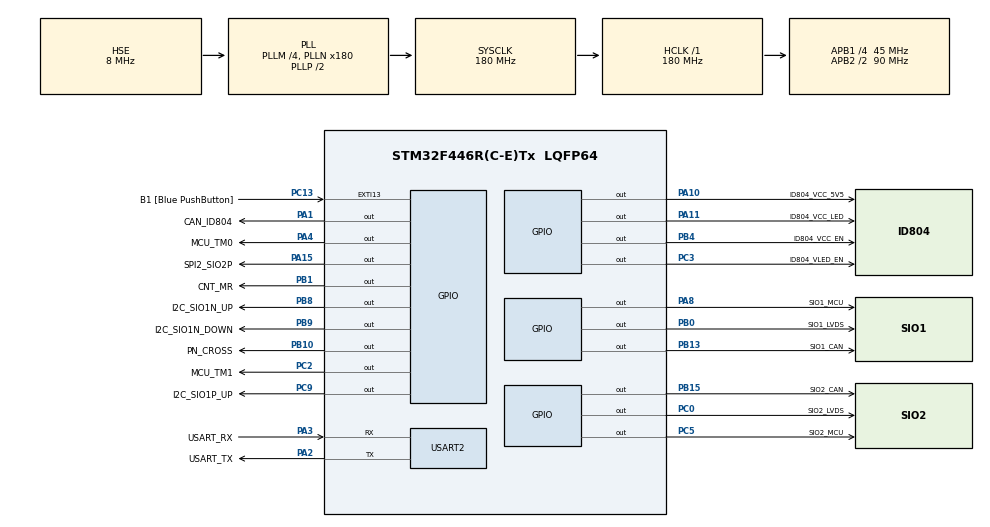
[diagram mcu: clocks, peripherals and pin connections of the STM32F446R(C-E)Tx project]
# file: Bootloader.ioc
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Mcu.Family=STM32F4
Mcu.Name=STM32F446R(C-E)Tx
Mcu.Package=LQFP64
NVIC.PriorityGroup=NVIC_PRIORITYGROUP_4
NVIC.USART2_IRQn=true\:0\:0\:false\:false\:true\:true\:true\:true
PA1.GPIO_Label=CAN_ID804
PA1.GPIO_Speed=GPIO_SPEED_FREQ_VERY_HIGH
PA1.Signal=GPIO_Output
PA10.GPIO_Label=ID804_VCC_5V5
PA10.GPIO_Speed=GPIO_SPEED_FREQ_VERY_HIGH
PA10.Signal=GPIO_Output
PA11.GPIO_Label=ID804_VCC_LED
PA11.GPIO_Speed=GPIO_SPEED_FREQ_VERY_HIGH
PA11.Signal=GPIO_Output
PA13.GPIO_Label=TMS
PA13.Mode=Serial_Wire
PA13.Signal=SYS_JTMS-SWDIO
PA14.GPIO_Label=TCK
PA14.Mode=Serial_Wire
PA14.Signal=SYS_JTCK-SWCLK
PA15.GPIO_Label=SPI2_SIO2P
PA15.GPIO_Speed=GPIO_SPEED_FREQ_VERY_HIGH
PA15.Signal=GPIO_Output
PA2.GPIO_Label=USART_TX
PA2.Mode=Asynchronous
PA2.Signal=USART2_TX
PA3.GPIO_Label=USART_RX
PA3.GPIO_PuPd=GPIO_PULLUP
PA3.Mode=Asynchronous
PA3.Signal=USART2_RX
PA4.GPIO_Label=MCU_TM0
PA4.GPIO_Speed=GPIO_SPEED_FREQ_VERY_HIGH
PA4.Signal=GPIO_Output
PA8.GPIO_Label=SIO1_MCU
PA8.GPIO_Speed=GPIO_SPEED_FREQ_VERY_HIGH
PA8.Signal=GPIO_Output
PB0.GPIO_Label=SIO1_LVDS
PB0.GPIO_Speed=GPIO_SPEED_FREQ_VERY_HIGH
PB0.Signal=GPIO_Output
PB1.GPIO_Label=CNT_MR
PB1.GPIO_Speed=GPIO_SPEED_FREQ_VERY_HIGH
PB1.PinState=GPIO_PIN_SET
PB1.Signal=GPIO_Output
PB10.GPIO_Label=PN_CROSS
PB10.GPIO_Speed=GPIO_SPEED_FREQ_VERY_HIGH
PB10.Signal=GPIO_Output
PB13.GPIO_Label=SIO1_CAN
PB13.GPIO_Speed=GPIO_SPEED_FREQ_VERY_HIGH
PB13.Signal=GPIO_Output
PB15.GPIO_Label=SIO2_CAN
PB15.GPIO_Speed=GPIO_SPEED_FREQ_VERY_HIGH
PB15.Signal=GPIO_Output
PB4.GPIO_Label=ID804_VCC_EN
PB4.GPIO_Speed=GPIO_SPEED_FREQ_VERY_HIGH
PB4.PinState=GPIO_PIN_SET
PB4.Signal=GPIO_Output
PB8.GPIO_Label=I2C_SIO1N_UP
PB8.GPIO_Speed=GPIO_SPEED_FREQ_VERY_HIGH
PB8.Signal=GPIO_Output
PB9.GPIO_Label=I2C_SIO1N_DOWN
PB9.GPIO_Speed=GPIO_SPEED_FREQ_VERY_HIGH
PB9.Signal=GPIO_Output
PC0.GPIO_Label=SIO2_LVDS
PC0.GPIO_Speed=GPIO_SPEED_FREQ_VERY_HIGH
PC0.Signal=GPIO_Output
PC13.GPIO_Label=B1 [Blue PushButton]
PC13.GPIO_ModeDefaultEXTI=GPIO_MODE_IT_FALLING
PC13.Signal=GPXTI13
PC14-OSC32_IN.Mode=LSE-External-Oscillator
PC14-OSC32_IN.Signal=RCC_OSC32_IN
PC15-OSC32_OUT.Mode=LSE-External-Oscillator
PC15-OSC32_OUT.Signal=RCC_OSC32_OUT
PC2.GPIO_Label=MCU_TM1
PC2.GPIO_Speed=GPIO_SPEED_FREQ_VERY_HIGH
PC2.PinState=GPIO_PIN_RESET
PC2.Signal=GPIO_Output
PC3.GPIO_Label=ID804_VLED_EN
PC3.GPIO_Speed=GPIO_SPEED_FREQ_VERY_HIGH
PC3.PinState=GPIO_PIN_RESET
PC3.Signal=GPIO_Output
PC5.GPIO_Label=SIO2_MCU
PC5.GPIO_Speed=GPIO_SPEED_FREQ_VERY_HIGH
PC5.Signal=GPIO_Output
PC9.GPIO_Label=I2C_SIO1P_UP
PC9.GPIO_Speed=GPIO_SPEED_FREQ_VERY_HIGH
PC9.Signal=GPIO_Output
PH0-OSC_IN.Mode=HSE-External-Oscillator
PH0-OSC_IN.Signal=RCC_OSC_IN
PH1-OSC_OUT.Mode=HSE-External-Oscillator
PH1-OSC_OUT.Signal=RCC_OSC_OUT
ProjectManager.HeapSize=0x200
ProjectManager.StackSize=0x400
ProjectManager.TargetToolchain=EWARM V8.50
RCC.48MHZClocksFreq_Value=84000000
RCC.AHBFreq_Value=180000000
RCC.APB1CLKDivider=RCC_HCLK_DIV4
RCC.APB1Freq_Value=45000000
RCC.APB1TimFreq_Value=90000000
RCC.APB2CLKDivider=RCC_HCLK_DIV2
RCC.APB2Freq_Value=90000000
RCC.APB2TimFreq_Value=180000000
RCC.CortexFreq_Value=180000000
RCC.FLatency-AdvancedSettings=FLASH_LATENCY_5
RCC.HCLKFreq_Value=180000000
RCC.HSE_VALUE=8000000
RCC.HSI_VALUE=16000000
RCC.PLLM=4
RCC.PLLN=180
RCC.PLLSourceVirtual=RCC_PLLSOURCE_HSE
RCC.SYSCLKFreq_VALUE=180000000
RCC.SYSCLKSource=RCC_SYSCLKSOURCE_PLLCLK
RCC.USBFreq_Value=180000000
RCC.VCOOutputFreq_Value=360000000
USART2.VirtualMode=VM_ASYNC
board=NUCLEO-F446RE

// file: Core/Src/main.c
/* USER CODE BEGIN Header */
/**
  ******************************************************************************
  * @file           : main.c
  * @brief          : Main program body
  ******************************************************************************
  * @attention
  *
  * Copyright (c) 2026 STMicroelectronics.
  * All rights reserved.
  *
  * This software is licensed under terms that can be found in the LICENSE file
  * in the root directory of this software component.
  * If no LICENSE file comes with this software, it is provided AS-IS.
  *
  ******************************************************************************
  */
/* USER CODE END Header */
#include "main.h"

/* USER CODE BEGIN PTD */

typedef void (*pJump_Function)(void);
typedef struct vector
{
    uint32_t        stack_addr; /* intvec[0] is initial Stack Pointer */
    pJump_Function  func_p;     /* intvec[1] is initial Program Counter */
}vector_t;

/* USER CODE END PTD */

/* USER CODE BEGIN PV */

uint32_t gn_msec_tick_count;

/* USER CODE END PV */

void SystemClock_Config(void);
static void MX_GPIO_Init(void);
static void MX_USART2_UART_Init(void);
/* USER CODE BEGIN PFP */

static void MX_USART2_UART_Deinit(void);

static uint8_t boot_img_jump(uint32_t app_abs_addr_start);

/* USER CODE END PFP */

int main(void)
{

  __disable_irq();

  /* MCU Configuration--------------------------------------------------------*/

  /* Reset of all peripherals, Initializes the Flash interface and the Systick. */
  HAL_Init();

  /* Configure the system clock */
  SystemClock_Config();

  /* Initialize all configured peripherals */
  MX_GPIO_Init();
  MX_USART2_UART_Init();
  /* USER CODE BEGIN 2 */

    uint8_t b_launch = 0U;
    do{
        Select_Menu();

        /* Launch to Application Image */
        b_launch = boot_img_jump(APP_IMAGE_BEGIN);
    }while(b_launch == 0U);

  /* USER CODE END 2 */

  /* Infinite loop */
  while (1)
  {

  }
}

void SystemClock_Config(void)
{
  RCC_OscInitTypeDef RCC_OscInitStruct = {0};
  RCC_ClkInitTypeDef RCC_ClkInitStruct = {0};

  /** Configure the main internal regulator output voltage
  */
  __HAL_RCC_PWR_CLK_ENABLE();
  __HAL_PWR_VOLTAGESCALING_CONFIG(PWR_REGULATOR_VOLTAGE_SCALE1);

  /** Initializes the RCC Oscillators according to the specified parameters
  * in the RCC_OscInitTypeDef structure.
  */
  RCC_OscInitStruct.OscillatorType = RCC_OSCILLATORTYPE_HSE;
  RCC_OscInitStruct.HSEState = RCC_HSE_ON;
  RCC_OscInitStruct.PLL.PLLState = RCC_PLL_ON;
  RCC_OscInitStruct.PLL.PLLSource = RCC_PLLSOURCE_HSE;
  RCC_OscInitStruct.PLL.PLLM = 4;
  RCC_OscInitStruct.PLL.PLLN = 180;
  RCC_OscInitStruct.PLL.PLLP = RCC_PLLP_DIV2;
  RCC_OscInitStruct.PLL.PLLQ = 2;
  RCC_OscInitStruct.PLL.PLLR = 2;
  if (HAL_RCC_OscConfig(&RCC_OscInitStruct) != HAL_OK)
  {
    Error_Handler();
  }

  /** Activate the Over-Drive mode
  */
  if (HAL_PWREx_EnableOverDrive() != HAL_OK)
  {
    Error_Handler();
  }

  /** Initializes the CPU, AHB and APB buses clocks
  */
  RCC_ClkInitStruct.ClockType = RCC_CLOCKTYPE_HCLK|RCC_CLOCKTYPE_SYSCLK
                              |RCC_CLOCKTYPE_PCLK1|RCC_CLOCKTYPE_PCLK2;
  RCC_ClkInitStruct.SYSCLKSource = RCC_SYSCLKSOURCE_PLLCLK;
  RCC_ClkInitStruct.AHBCLKDivider = RCC_SYSCLK_DIV1;
  RCC_ClkInitStruct.APB1CLKDivider = RCC_HCLK_DIV4;
  RCC_ClkInitStruct.APB2CLKDivider = RCC_HCLK_DIV2;

  if (HAL_RCC_ClockConfig(&RCC_ClkInitStruct, FLASH_LATENCY_5) != HAL_OK)
  {
    Error_Handler();
  }
}

static void MX_USART2_UART_Init(void)
{

  LL_USART_InitTypeDef USART_InitStruct = {0};

  LL_GPIO_InitTypeDef GPIO_InitStruct = {0};

  /* Peripheral clock enable */
  LL_APB1_GRP1_EnableClock(LL_APB1_GRP1_PERIPH_USART2);

  LL_AHB1_GRP1_EnableClock(LL_AHB1_GRP1_PERIPH_GPIOA);
  /**USART2 GPIO Configuration
  PA2   ------> USART2_TX
  PA3   ------> USART2_RX
  */
  GPIO_InitStruct.Pin = USART_TX_Pin;
  GPIO_InitStruct.Mode = LL_GPIO_MODE_ALTERNATE;
  GPIO_InitStruct.Speed = LL_GPIO_SPEED_FREQ_VERY_HIGH;
  GPIO_InitStruct.OutputType = LL_GPIO_OUTPUT_PUSHPULL;
  GPIO_InitStruct.Pull = LL_GPIO_PULL_NO;
  GPIO_InitStruct.Alternate = LL_GPIO_AF_7;
  LL_GPIO_Init(USART_TX_GPIO_Port, &GPIO_InitStruct);

  GPIO_InitStruct.Pin = USART_RX_Pin;
  GPIO_InitStruct.Mode = LL_GPIO_MODE_ALTERNATE;
  GPIO_InitStruct.Speed = LL_GPIO_SPEED_FREQ_VERY_HIGH;
  GPIO_InitStruct.OutputType = LL_GPIO_OUTPUT_PUSHPULL;
  GPIO_InitStruct.Pull = LL_GPIO_PULL_UP;
  GPIO_InitStruct.Alternate = LL_GPIO_AF_7;
  LL_GPIO_Init(USART_RX_GPIO_Port, &GPIO_InitStruct);

  /* USART2 interrupt Init */
  NVIC_SetPriority(USART2_IRQn, NVIC_EncodePriority(NVIC_GetPriorityGrouping(),0, 0));
  NVIC_EnableIRQ(USART2_IRQn);

  USART_InitStruct.BaudRate = 115200;
  USART_InitStruct.DataWidth = LL_USART_DATAWIDTH_8B;
  USART_InitStruct.StopBits = LL_USART_STOPBITS_1;
  USART_InitStruct.Parity = LL_USART_PARITY_NONE;
  USART_InitStruct.TransferDirection = LL_USART_DIRECTION_TX_RX;
  USART_InitStruct.HardwareFlowControl = LL_USART_HWCONTROL_NONE;
  USART_InitStruct.OverSampling = LL_USART_OVERSAMPLING_16;
  LL_USART_Init(USART2, &USART_InitStruct);
  LL_USART_ConfigAsyncMode(USART2);
  LL_USART_Enable(USART2);

}

static void MX_GPIO_Init(void)
{
  LL_EXTI_InitTypeDef EXTI_InitStruct = {0};
  LL_GPIO_InitTypeDef GPIO_InitStruct = {0};

  /* GPIO Ports Clock Enable */
  LL_AHB1_GRP1_EnableClock(LL_AHB1_GRP1_PERIPH_GPIOC);
  LL_AHB1_GRP1_EnableClock(LL_AHB1_GRP1_PERIPH_GPIOH);
  LL_AHB1_GRP1_EnableClock(LL_AHB1_GRP1_PERIPH_GPIOA);
  LL_AHB1_GRP1_EnableClock(LL_AHB1_GRP1_PERIPH_GPIOB);
  LL_AHB1_GRP1_EnableClock(LL_AHB1_GRP1_PERIPH_GPIOD);

  /**/
  LL_GPIO_ResetOutputPin(GPIOC, SIO2_LVDS_Pin|MCU_TM1_Pin|ID804_VLED_EN_Pin|SIO2_MCU_Pin
                          |I2C_SIO1P_UP_Pin);

  /**/
  LL_GPIO_ResetOutputPin(GPIOA, CAN_ID804_Pin|MCU_TM0_Pin|SIO1_MCU_Pin|ID804_VCC_5V5_Pin
                          |ID804_VCC_LED_Pin|SPI2_SIO2P_Pin);

  /**/
  LL_GPIO_ResetOutputPin(GPIOB, SIO1_LVDS_Pin|PN_CROSS_Pin|SIO1_CAN_Pin|SIO2_CAN_Pin
                          |I2C_SIO1N_UP_Pin|I2C_SIO1N_DOWN_Pin);

  /**/
  LL_GPIO_SetOutputPin(GPIOB, CNT_MR_Pin|ID804_VCC_EN_Pin);

  /**/
  LL_SYSCFG_SetEXTISource(LL_SYSCFG_EXTI_PORTC, LL_SYSCFG_EXTI_LINE13);

  /**/
  EXTI_InitStruct.Line_0_31 = LL_EXTI_LINE_13;
  EXTI_InitStruct.LineCommand = ENABLE;
  EXTI_InitStruct.Mode = LL_EXTI_MODE_IT;
  EXTI_InitStruct.Trigger = LL_EXTI_TRIGGER_FALLING;
  LL_EXTI_Init(&EXTI_InitStruct);

  /**/
  LL_GPIO_SetPinPull(B1_GPIO_Port, B1_Pin, LL_GPIO_PULL_NO);

  /**/
  LL_GPIO_SetPinMode(B1_GPIO_Port, B1_Pin, LL_GPIO_MODE_INPUT);

  /**/
  GPIO_InitStruct.Pin = SIO2_LVDS_Pin|MCU_TM1_Pin|ID804_VLED_EN_Pin|SIO2_MCU_Pin
                          |I2C_SIO1P_UP_Pin;
  GPIO_InitStruct.Mode = LL_GPIO_MODE_OUTPUT;
  GPIO_InitStruct.Speed = LL_GPIO_SPEED_FREQ_VERY_HIGH;
  GPIO_InitStruct.OutputType = LL_GPIO_OUTPUT_PUSHPULL;
  GPIO_InitStruct.Pull = LL_GPIO_PULL_NO;
  LL_GPIO_Init(GPIOC, &GPIO_InitStruct);

  /**/
  GPIO_InitStruct.Pin = LL_GPIO_PIN_1|LL_GPIO_PIN_4|LL_GPIO_PIN_6|LL_GPIO_PIN_7
                          |LL_GPIO_PIN_8|LL_GPIO_PIN_10|LL_GPIO_PIN_11|LL_GPIO_PIN_12;
  GPIO_InitStruct.Mode = LL_GPIO_MODE_ANALOG;
  GPIO_InitStruct.Pull = LL_GPIO_PULL_NO;
  LL_GPIO_Init(GPIOC, &GPIO_InitStruct);

  /**/
  GPIO_InitStruct.Pin = LL_GPIO_PIN_0|LL_GPIO_PIN_5|LL_GPIO_PIN_6|LL_GPIO_PIN_7
                          |LL_GPIO_PIN_9|LL_GPIO_PIN_12;
  GPIO_InitStruct.Mode = LL_GPIO_MODE_ANALOG;
  GPIO_InitStruct.Pull = LL_GPIO_PULL_NO;
  LL_GPIO_Init(GPIOA, &GPIO_InitStruct);

  /**/
  GPIO_InitStruct.Pin = CAN_ID804_Pin|MCU_TM0_Pin|SIO1_MCU_Pin|ID804_VCC_5V5_Pin
                          |ID804_VCC_LED_Pin|SPI2_SIO2P_Pin;
  GPIO_InitStruct.Mode = LL_GPIO_MODE_OUTPUT;
  GPIO_InitStruct.Speed = LL_GPIO_SPEED_FREQ_VERY_HIGH;
  GPIO_InitStruct.OutputType = LL_GPIO_OUTPUT_PUSHPULL;
  GPIO_InitStruct.Pull = LL_GPIO_PULL_NO;
  LL_GPIO_Init(GPIOA, &GPIO_InitStruct);

  /**/
  GPIO_InitStruct.Pin = SIO1_LVDS_Pin|CNT_MR_Pin|PN_CROSS_Pin|SIO1_CAN_Pin
                          |SIO2_CAN_Pin|ID804_VCC_EN_Pin|I2C_SIO1N_UP_Pin|I2C_SIO1N_DOWN_Pin;
  GPIO_InitStruct.Mode = LL_GPIO_MODE_OUTPUT;
  GPIO_InitStruct.Speed = LL_GPIO_SPEED_FREQ_VERY_HIGH;
  GPIO_InitStruct.OutputType = LL_GPIO_OUTPUT_PUSHPULL;
  GPIO_InitStruct.Pull = LL_GPIO_PULL_NO;
  LL_GPIO_Init(GPIOB, &GPIO_InitStruct);

  /**/
  GPIO_InitStruct.Pin = LL_GPIO_PIN_2|LL_GPIO_PIN_12|LL_GPIO_PIN_14|LL_GPIO_PIN_3
                          |LL_GPIO_PIN_5|LL_GPIO_PIN_6|LL_GPIO_PIN_7;
  GPIO_InitStruct.Mode = LL_GPIO_MODE_ANALOG;
  GPIO_InitStruct.Pull = LL_GPIO_PULL_NO;
  LL_GPIO_Init(GPIOB, &GPIO_InitStruct);

  /**/
  GPIO_InitStruct.Pin = LL_GPIO_PIN_2;
  GPIO_InitStruct.Mode = LL_GPIO_MODE_ANALOG;
  GPIO_InitStruct.Pull = LL_GPIO_PULL_NO;
  LL_GPIO_Init(GPIOD, &GPIO_InitStruct);

}

/* USER CODE BEGIN 4 */

static void MX_USART2_UART_Deinit(void)
{
    /** Disable USART */
    LL_USART_Disable(USART2);

    LL_USART_DeInit(USART2);

    /* Peripheral clock disable */
    LL_APB1_GRP1_DisableClock(LL_APB1_GRP1_PERIPH_USART2);
}

#pragma optimize=none
static uint8_t boot_img_jump(uint32_t app_abs_addr_start)
{
    uint8_t result = 0U;
    const vector_t *vector_p = (vector_t*)(app_abs_addr_start);

    if((vector_p->stack_addr& 0x2FF00000) == 0x20000000)
    {
        result = 1U;

        MX_USART2_UART_Deinit();

        HAL_RCC_DeInit();
        HAL_DeInit();

        /* Disable SysTick interrupt */
        SysTick->CTRL &= ~(SysTick_CTRL_TICKINT_Msk | SysTick_CTRL_ENABLE_Msk);

        __disable_irq();                /* 1. Disable interrupts */

        /* initialize user application's stack pointer */
        __set_MSP(vector_p->stack_addr);    /* 2. Configure stack pointer */

        vector_p->func_p();             /* 4. Jump to application */
    }

    return result;
}

/* USER CODE END 4 */

void Error_Handler(void)
{
  __disable_irq();
  while (1)
  {
  }
}
